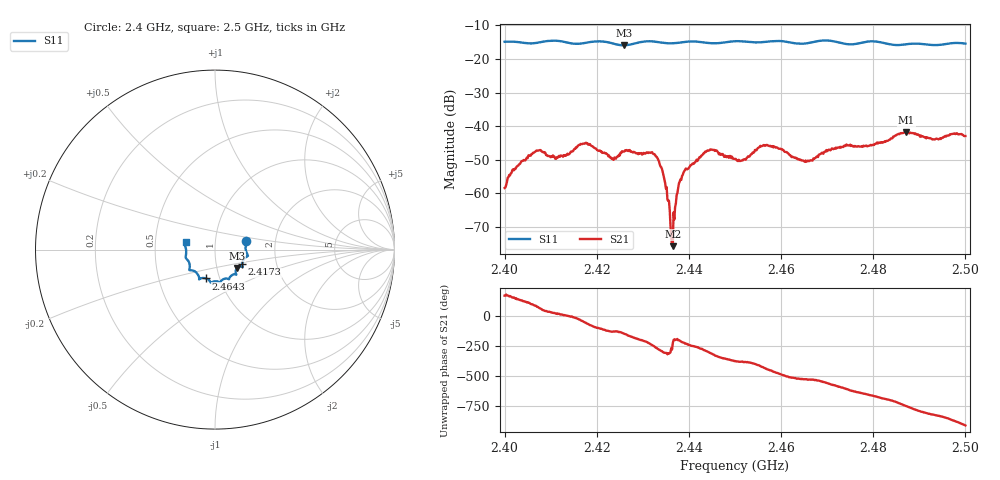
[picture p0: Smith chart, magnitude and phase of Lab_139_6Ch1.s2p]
# Hz S RI R 50
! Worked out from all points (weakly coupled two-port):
!   601 points, 2.4 GHz to 2.5 GHz, reference 50 ohm
!   highest |S21| = -41.78 dB at 2.4872 GHz (marker M1); lowest = -75.7 dB at 2.4365 GHz (marker M2)
!   lowest |S11| = -15.9 dB at 2.4258 GHz (marker M3), VSWR 1.38, Z = 62.3 - j13.2 ohm
!   |S11| at or under -10 dB: start of sweep to end of sweep
!   S12 and S22 are empty: the file has one direction only
!   S11 on the Smith chart (normalised r, x): 2.4 GHz: 1.41, +0.14; 2.4173 GHz: 1.34, -0.23; 2.4643 GHz: 0.86, -0.29; 2.5 GHz: 0.72, +0.06
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2.4e9  0.1731 0.0493  -0.00119 0.00017  0 0  0 0
2.402167e9  0.1757 0.0403  -0.00205 0.00107  0 0  0 0
2.406667e9  0.1721 -0.00581  0.000104 0.00419  0 0  0 0
2.4115e9  0.1824 -0.036  0.00322 0.00111  0 0  0 0
2.416667e9  0.1526 -0.0742  0.0044 -0.00316  0 0  0 0
2.417333e9  0.1519 -0.0817  0.0036 -0.00415  0 0  0 0
2.423667e9  0.14 -0.0939  -0.00185 -0.00257  0 0  0 0
2.425833e9  0.1219 -0.1031  -0.00335 -0.00255  0 0  0 0
2.433333e9  0.1134 -0.1371  0.000191 0.00318  0 0  0 0
2.434667e9  0.1047 -0.1373  0.000895 0.00134  0 0  0 0
2.436e9  0.0943 -0.1425  0.000163 0.000288  0 0  0 0
2.4365e9  0.0906 -0.1454  -0.000122 0.000111  0 0  0 0
2.437667e9  0.0836 -0.1526  -0.00114 0.000401  0 0  0 0
2.439333e9  0.0797 -0.1613  -0.0016 0.00171  0 0  0 0
2.4445e9  0.06 -0.1612  0.0024 0.00367  0 0  0 0
2.45e9  0.0287 -0.1814  0.00318 -0.000671  0 0  0 0
2.456667e9  -0.0117 -0.1793  0.00124 -0.00505  0 0  0 0
2.464333e9  -0.0499 -0.1608  -0.00303 -0.000902  0 0  0 0
2.466667e9  -0.0764 -0.1593  -0.003 -0.000747  0 0  0 0
2.483333e9  -0.1406 -0.0897  0.00554 0.00274  0 0  0 0
2.487167e9  -0.1562 -0.0545  0.00725 -0.00371  0 0  0 0
2.5e9  -0.1636 0.0427  -0.00706 0.00103  0 0  0 0
